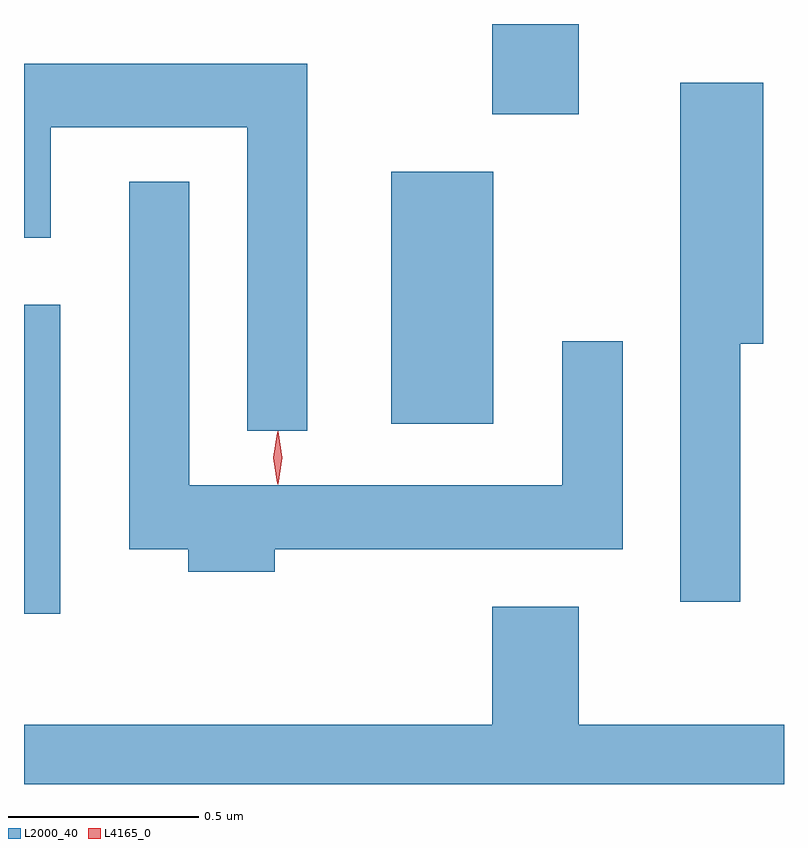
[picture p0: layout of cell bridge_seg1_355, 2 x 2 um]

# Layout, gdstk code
import gdstk
lib = gdstk.Library(unit=1e-6, precision=1e-09)
def R(c, l, rs):  # rectangles x0, y0, x1, y1
    for r in rs: c.add(gdstk.rectangle(r[:2], r[2:], *l))
def P(c, l, *ps):  # polygons
    for p in ps: c.add(gdstk.Polygon(p, *l))
L2000_40 = (2000, 40)
L4165_0 = (4165, 0)

bridge_seg1_355 = lib.new_cell('bridge_seg1_355')
R(bridge_seg1_355, L2000_40, [(936.529,882.376,936.624,883.189), (937.496,882.876,937.764,883.539), (937.761,883.691,937.989,883.928)])
P(bridge_seg1_355, L2000_40, [(937.274,883.824),(936.529,883.824),(936.529,883.366),(936.599,883.366),(936.599,883.656),(937.116,883.656),(937.116,882.858),(937.274,882.858)],
  [(938.414,883.086),(938.474,883.086),(938.474,883.774),(938.256,883.774),(938.256,882.408),(938.414,882.408)],
  [(937.189,882.546),(938.104,882.546),(938.104,883.093),(937.946,883.093),(937.946,882.714),(936.964,882.714),(936.964,883.513),(936.806,883.513),(936.806,882.546),(936.961,882.546),(936.961,882.486),(937.189,882.486)],
  [(938.529,882.084),(937.989,882.084),(937.989,882.394),(937.761,882.394),(937.761,882.084),(936.529,882.084),(936.529,881.928),(938.529,881.928)])
P(bridge_seg1_355, L4165_0, [(937.197,882.717),(937.188,882.787),(937.197,882.856),(937.198,882.856),(937.198,882.856),(937.208,882.787),(937.198,882.717),(937.198,882.717)],
  [(937.195,882.719),(937.195,882.72),(937.185,882.786),(937.195,882.852),(937.195,882.853),(937.196,882.852),(937.205,882.786),(937.196,882.72)])

lib.write_gds('bridge_seg1_355.gds')
